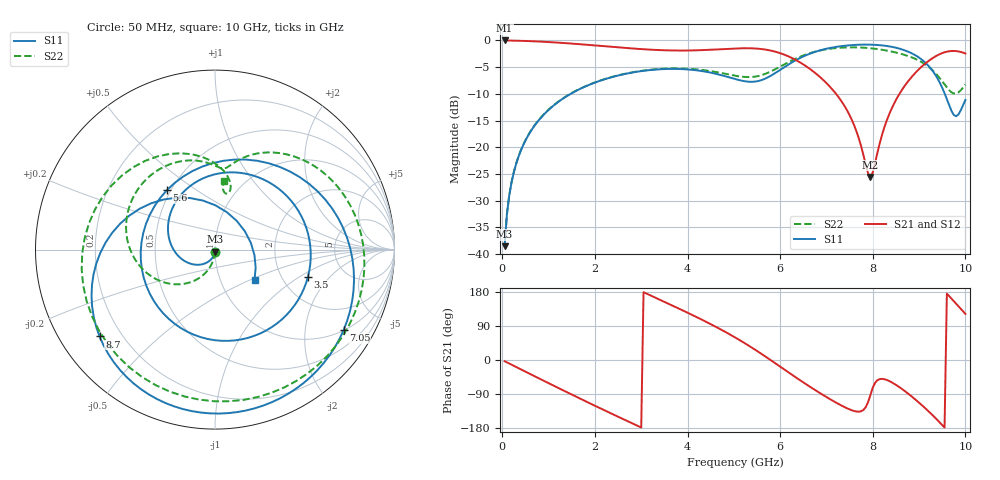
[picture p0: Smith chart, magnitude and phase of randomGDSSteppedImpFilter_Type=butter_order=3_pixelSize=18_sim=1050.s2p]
! freq	dB(S11)	phase(S11)	dB(S12)	phase(S12)
!  dB(S21)	phase(S21)	dB(S22)	phase(S22)
!S-par simulation data
#  GHz  S  DB  R 50
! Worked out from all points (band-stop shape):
!   200 points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, 50 MHz to 10 GHz, reference 50 ohm
!   highest |S21| = -0.01 dB at 50 MHz (marker M1); lowest = -25.6 dB at 7.95 GHz (marker M2)
!   |S21| within 3 dB of the highest: start of sweep to 6.184 GHz; 9.349 GHz to end of sweep
!   lowest |S11| = -38.5 dB at 50 MHz (marker M3), VSWR 1.02, Z = 49.9 - j1.18 ohm
!   |S11| at or under -10 dB: start of sweep to 1.475 GHz; 9.555 GHz to end of sweep
!   |S22| runs from -38.4 to -1.3 dB; largest |S21 - S12| = 0
!   S11 on the Smith chart (normalised r, x): 50 MHz: 1.00, -0.02; 3.5 GHz: 2.78, -1.18; 5.6 GHz: 0.48, +0.38; 7.05 GHz: 1.02, -3.19; 8.7 GHz: 0.12, -0.33; 10 GHz: 1.45, -0.53
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0.05  -38.50 -93.8  -0.01 -3.1  -0.01 -3.1  -38.40 -90.6
0.2  -26.55 -107.3  -0.03 -12.4  -0.03 -12.4  -26.51 -97.2
0.5  -18.72 -133.9  -0.10 -30.8  -0.10 -30.8  -18.67 -108.5
1.15  -11.89 170.1  -0.38 -70.2  -0.38 -70.2  -11.84 -131.9
1.75  -8.78 119.7  -0.76 -106.0  -0.76 -106.0  -8.74 -153.1
2.5  -6.57 59.3  -1.30 -149.7  -1.30 -149.7  -6.53 -179.7
3.4  -5.40 -8.8  -1.81 159.2  -1.81 159.2  -5.33 146.9
3.5  -5.36 -16.2  -1.84 153.5  -1.84 153.5  -5.28 143.1
4.35  -5.79 -81.9  -1.80 104.0  -1.80 104.0  -5.56 111.0
5.05  -7.28 -152.1  -1.49 57.9  -1.49 57.9  -6.64 89.4
5.6  -7.42 129.1  -1.62 15.8  -1.62 15.8  -6.49 80.2
6.1  -4.94 58.2  -2.70 -25.9  -2.70 -25.9  -4.43 63.9
6.7  -2.30 -4.0  -5.70 -75.0  -5.70 -75.0  -2.23 25.4
7.05  -1.46 -32.0  -8.43 -101.4  -8.43 -101.4  -1.59 -2.6
7.45  -0.95 -59.8  -13.17 -127.8  -13.17 -127.8  -1.30 -38.4
7.95  -0.79 -91.8  -25.55 -91.8  -25.55 -91.8  -1.46 -90.3
8.35  -1.11 -117.8  -13.91 -55.2  -13.91 -55.2  -1.98 -138.6
8.7  -1.89 -143.0  -8.37 -82.7  -8.37 -82.7  -2.74 175.1
9.05  -3.53 -173.3  -4.95 -118.0  -4.95 -118.0  -4.03 128.1
9.45  -7.96 135.8  -2.55 -165.2  -2.55 -165.2  -7.11 83.6
9.75  -13.95 52.8  -1.97 155.0  -1.97 155.0  -9.93 77.7
10  -11.15 -37.4  -2.44 121.7  -2.44 121.7  -8.24 82.2
